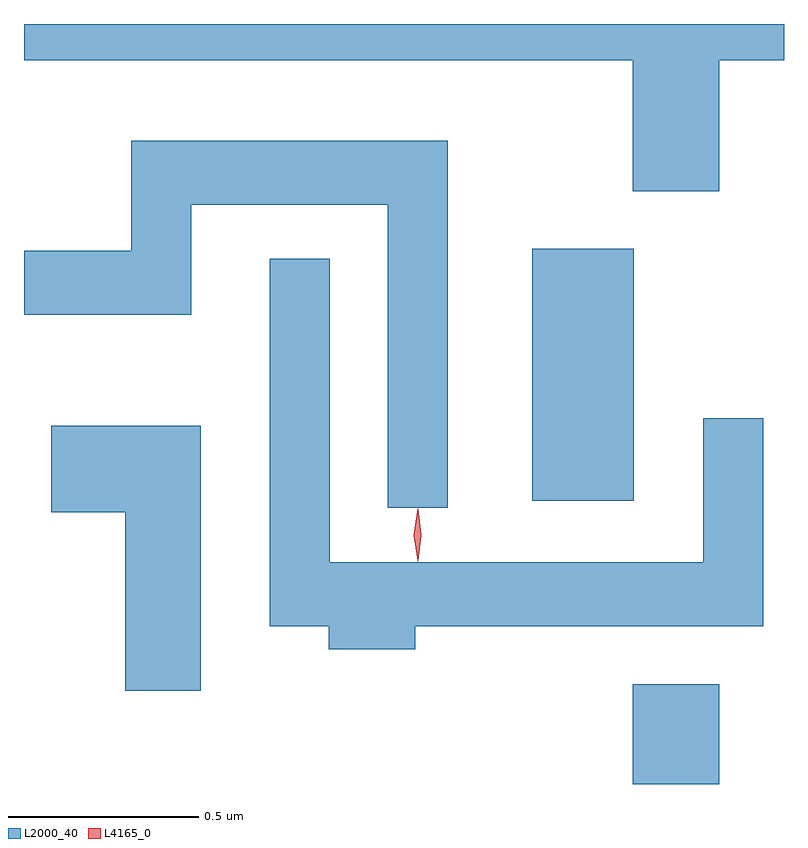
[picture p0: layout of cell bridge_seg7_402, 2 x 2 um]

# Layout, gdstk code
import gdstk
lib = gdstk.Library(unit=1e-6, precision=1e-09)
def R(c, l, rs):  # rectangles x0, y0, x1, y1
    for r in rs: c.add(gdstk.rectangle(r[:2], r[2:], *l))
def P(c, l, *ps):  # polygons
    for p in ps: c.add(gdstk.Polygon(p, *l))
L2000_40 = (2000, 40)
L4165_0 = (4165, 0)

bridge_seg7_402 = lib.new_cell('bridge_seg7_402')
R(bridge_seg7_402, L2000_40, [(1146.811,1743.491,1147.039,1743.754), (1146.546,1744.236,1146.814,1744.899)])
P(bridge_seg7_402, L2000_40, [(1147.039,1745.396),(1147.209,1745.396),(1147.209,1745.491),(1145.209,1745.491),(1145.209,1745.396),(1146.811,1745.396),(1146.811,1745.051),(1147.039,1745.051)],
  [(1146.324,1745.184),(1145.491,1745.184),(1145.491,1744.894),(1145.209,1744.894),(1145.209,1744.726),(1145.649,1744.726),(1145.649,1745.016),(1146.166,1745.016),(1146.166,1744.218),(1146.324,1744.218)],
  [(1146.239,1743.906),(1147.154,1743.906),(1147.154,1744.453),(1146.996,1744.453),(1146.996,1744.074),(1146.014,1744.074),(1146.014,1744.873),(1145.856,1744.873),(1145.856,1743.906),(1146.011,1743.906),(1146.011,1743.846),(1146.239,1743.846)],
  [(1145.674,1744.434),(1145.281,1744.434),(1145.281,1744.206),(1145.476,1744.206),(1145.476,1743.736),(1145.674,1743.736)])
P(bridge_seg7_402, L4165_0, [(1146.245,1744.077),(1146.245,1744.078),(1146.235,1744.147),(1146.245,1744.216),(1146.245,1744.216),(1146.246,1744.216),(1146.255,1744.147),(1146.246,1744.078)],
  [(1146.245,1744.079),(1146.245,1744.08),(1146.235,1744.146),(1146.245,1744.212),(1146.245,1744.213),(1146.246,1744.212),(1146.255,1744.146),(1146.246,1744.08)])

lib.write_gds('bridge_seg7_402.gds')
